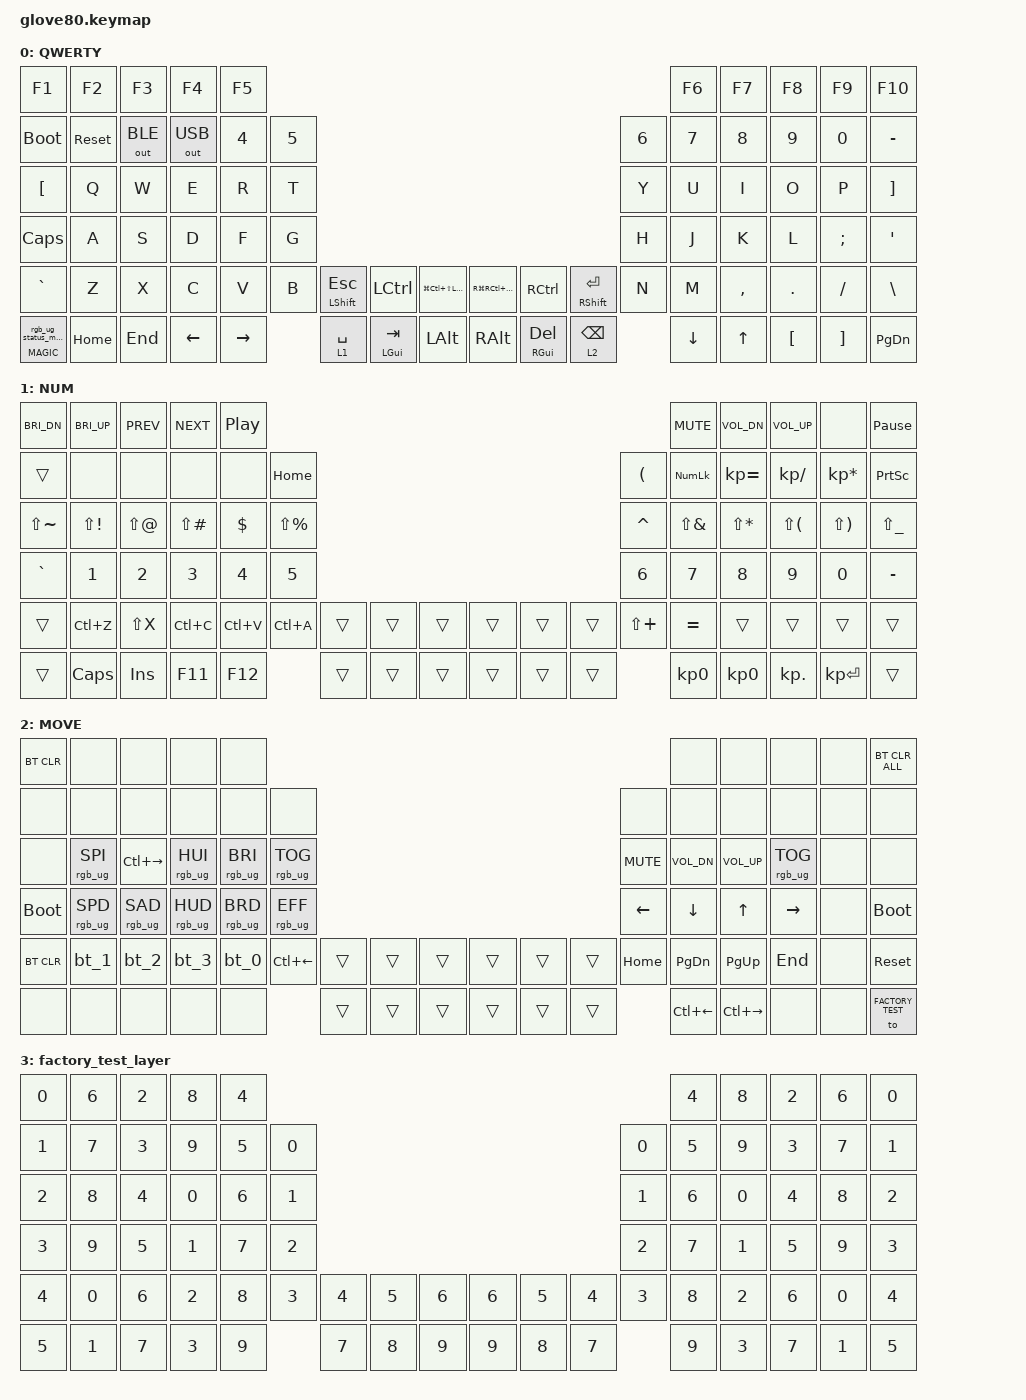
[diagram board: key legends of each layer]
/*
 * Copyright (c) 2020 The ZMK Contributors
 *
 * SPDX-License-Identifier: MIT
 */

#include <behaviors.dtsi>
#include <dt-bindings/zmk/bt.h>
#include <dt-bindings/zmk/keys.h>
#include <dt-bindings/zmk/outputs.h>
#include <dt-bindings/zmk/rgb.h>

#define HYPER LC(LS(LG(LALT)))

// layers

#define DEFAULT 0
#define LOWER 1
#define MAGIC 2
#define FACTORY_TEST 3

/ {
    behaviors {
        // For the "layer" key, it'd nice to be able to use it as either a shift or a toggle.
        // Configure it as a tap dance, so the first tap (or hold) is a &mo and the second tap is a &to

        layer_td: tap_dance_0 {
            compatible = "zmk,behavior-tap-dance";
            label = "LAYER_TAP_DANCE";
            #binding-cells = <0>;
            tapping-term-ms = <200>;
            bindings = <&mo LOWER>, <&to LOWER>;
        };

        magic: magic_hold_tap {
            compatible = "zmk,behavior-hold-tap";
            label = "MAGIC_HOLD_TAP";
            #binding-cells = <2>;
            flavor = "tap-preferred";
            tapping-term-ms = <200>;
            bindings = <&mo>, <&rgb_ug_status_macro>;
        };
    };

    macros {
        rgb_ug_status_macro: rgb_ug_status_macro_0 {
            label = "RGB_UG_STATUS";
            compatible = "zmk,behavior-macro";
            #binding-cells = <0>;
            bindings = <&rgb_ug RGB_STATUS>;
        };

        bt_0: bt_profile_macro_0 {
            label = "BT_0";
            compatible = "zmk,behavior-macro";
            #binding-cells = <0>;
            bindings = <&out OUT_BLE &bt BT_SEL 0>;
        };

        bt_1: bt_profile_macro_1 {
            label = "BT_1";
            compatible = "zmk,behavior-macro";
            #binding-cells = <0>;
            bindings = <&out OUT_BLE &bt BT_SEL 1>;
        };

        bt_2: bt_profile_macro_2 {
            label = "BT_2";
            compatible = "zmk,behavior-macro";
            #binding-cells = <0>;
            bindings = <&out OUT_BLE &bt BT_SEL 2>;
        };

        bt_3: bt_profile_macro_3 {
            label = "BT_3";
            compatible = "zmk,behavior-macro";
            #binding-cells = <0>;
            bindings = <&out OUT_BLE &bt BT_SEL 3>;
        };
    };

    keymap {
        compatible = "zmk,keymap";

        QWERTY {
            // ---------------------------------------------------------------------------------------------------------------------------------
            // |  F1   |  F2 |  F3 |  F4  |  F5  |                                                               |  F6   |  F7   |  F8  |   F9  |  F10 |
            // |  =    |  1  |  2  |  3   |  4   |  5   |                                                 |  6   |   7   |   8   |  9   |   0   |   -  |
            // |  TAB  |  Q  |  W  |  E   |  R   |  T   |                                                 |  Y   |   U   |   I   |  O   |   P   |   \  |
            // |  ESC  |  A  |  S  |  D   |  F   |  G   |                                                 |  H   |   J   |   K   |  L   |   ;   |   '  |
            // |   `   |  Z  |  X  |  C   |  V   |  B   | LSHFT | LCTRL | LOWER | | LGUI  | RCTRL | RSHFT |  N   |   M   |   ,   |  .   |   /   | PGUP |
            // | MAGIC | HOME| END | LEFT | RIGHT|      | BSPC  | DEL   | LALT  | | RALT  | RET   | SPACE |      |  UP   | DOWN  |  [   |   ]   | PGDN |

            bindings = <
&kp F1            &kp F2      &kp F3        &kp F4        &kp F5                                                                                                                                            &kp F6    &kp F7        &kp F8    &kp F9    &kp F10
&bootloader       &sys_reset  &out OUT_BLE  &out OUT_USB  &kp N4     &kp N5                                                                                                                         &kp N6  &kp N7    &kp N8        &kp N9    &kp N0    &kp MINUS
&kp LEFT_BRACKET  &kp Q       &kp W         &kp E         &kp R      &kp T                                                                                                                          &kp Y   &kp U     &kp I         &kp O     &kp P     &kp RIGHT_BRACKET
&kp CAPS          &kp A       &kp S         &kp D         &kp F      &kp G                                                                                                                          &kp H   &kp J     &kp K         &kp L     &kp SEMI  &kp SQT
&kp GRAVE         &kp Z       &kp X         &kp C         &kp V      &kp B   &mt LSHFT ESCAPE  &kp LCTRL     &kp LG(LC(LS(LEFT_ALT)))  &kp RG(RC(RS(RIGHT_ALT)))  &kp RCTRL        &mt RSHFT RET    &kp N   &kp M     &kp COMMA     &kp DOT   &kp FSLH  &kp BACKSLASH
&magic MAGIC 0    &kp HOME    &kp END       &kp LEFT      &kp RIGHT          &lt 1 SPACE       &mt LGUI TAB  &kp LALT                  &kp RALT                   &mt RGUI DELETE  &lt 2 BACKSPACE          &kp DOWN  &kp UP_ARROW  &kp LBKT  &kp RBKT  &kp PG_DN
            >;
        };

        NUM {
            bindings = <
&kp C_BRI_DN   &kp C_BRI_UP  &kp C_PREV  &kp C_NEXT     &kp C_PP                                                                                 &kp C_MUTE    &kp C_VOL_DN  &kp C_VOL_UP   &none            &kp PAUSE_BREAK
&trans         &none         &none       &none          &none       &kp HOME                                                       &kp LPAR      &kp KP_NUM    &kp KP_EQUAL  &kp KP_DIVIDE  &kp KP_MULTIPLY  &kp PSCRN
&kp LS(TILDE)  &kp LS(EXCL)  &kp LS(AT)  &kp LS(POUND)  &kp DOLLAR  &kp LS(PRCNT)                                                  &kp CARET     &kp LS(AMPS)  &kp LS(STAR)  &kp LS(LPAR)   &kp LS(RPAR)     &kp LS(UNDER)
&kp GRAVE      &kp N1        &kp N2      &kp N3         &kp N4      &kp N5                                                         &kp N6        &kp N7        &kp N8        &kp N9         &kp N0           &kp MINUS
&trans         &kp LC(Z)     &kp LS(X)   &kp LC(C)      &kp LC(V)   &kp LC(A)      &trans  &trans  &trans  &trans  &trans  &trans  &kp LS(PLUS)  &kp EQUAL     &trans        &trans         &trans           &trans
&trans         &kp CAPS      &kp INS     &kp F11        &kp F12                    &trans  &trans  &trans  &trans  &trans  &trans                &kp KP_N0     &kp KP_N0     &kp KP_DOT     &kp KP_ENTER     &trans
            >;
        };

        MOVE {
            bindings = <
&bt BT_CLR   &none            &none            &none            &none                                                                                            &none         &none          &none            &none  &bt BT_CLR_ALL
&none        &none            &none            &none            &none            &none                                                               &none       &none         &none          &none            &none  &none
&none        &rgb_ug RGB_SPI  &kp LC(RIGHT)    &rgb_ug RGB_HUI  &rgb_ug RGB_BRI  &rgb_ug RGB_TOG                                                     &kp C_MUTE  &kp C_VOL_DN  &kp C_VOL_UP   &rgb_ug RGB_TOG  &none  &none
&bootloader  &rgb_ug RGB_SPD  &rgb_ug RGB_SAD  &rgb_ug RGB_HUD  &rgb_ug RGB_BRD  &rgb_ug RGB_EFF                                                     &kp LEFT    &kp DOWN      &kp UP         &kp RIGHT        &none  &bootloader
&bt BT_CLR   &bt_1            &bt_2            &bt_3            &bt_0            &kp LC(LEFT_ARROW)  &trans  &trans  &trans  &trans  &trans  &trans  &kp HOME    &kp PG_DN     &kp PG_UP      &kp END          &none  &sys_reset
&none        &none            &none            &none            &none                                &trans  &trans  &trans  &trans  &trans  &trans              &kp LC(LEFT)  &kp LC(RIGHT)  &none            &none  &to FACTORY_TEST
            >;
        };

        factory_test_layer {
            bindings = <
&kp N0  &kp N6  &kp N2  &kp N8  &kp N4                                                                  &kp N4  &kp N8  &kp N2  &kp N6  &kp N0
&kp N1  &kp N7  &kp N3  &kp N9  &kp N5  &kp N0                                                  &kp N0  &kp N5  &kp N9  &kp N3  &kp N7  &kp N1
&kp N2  &kp N8  &kp N4  &kp N0  &kp N6  &kp N1                                                  &kp N1  &kp N6  &kp N0  &kp N4  &kp N8  &kp N2
&kp N3  &kp N9  &kp N5  &kp N1  &kp N7  &kp N2                                                  &kp N2  &kp N7  &kp N1  &kp N5  &kp N9  &kp N3
&kp N4  &kp N0  &kp N6  &kp N2  &kp N8  &kp N3  &kp N4  &kp N5  &kp N6  &kp N6  &kp N5  &kp N4  &kp N3  &kp N8  &kp N2  &kp N6  &kp N0  &kp N4
&kp N5  &kp N1  &kp N7  &kp N3  &kp N9          &kp N7  &kp N8  &kp N9  &kp N9  &kp N8  &kp N7          &kp N9  &kp N3  &kp N7  &kp N1  &kp N5
            >;
        };
    };
};
